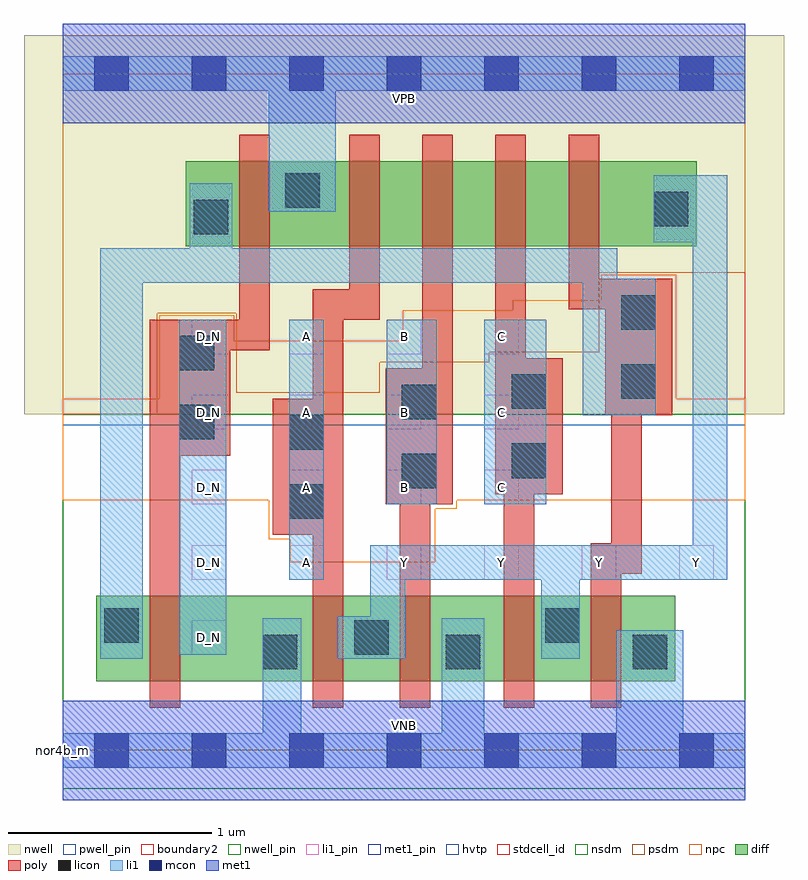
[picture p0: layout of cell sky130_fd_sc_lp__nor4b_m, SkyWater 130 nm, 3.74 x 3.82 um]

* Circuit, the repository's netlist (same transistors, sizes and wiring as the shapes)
* Copyright 2020 The SkyWater PDK Authors
*
* Licensed under the Apache License, Version 2.0 (the "License");
* you may not use this file except in compliance with the License.
* You may obtain a copy of the License at
*
*     https://www.apache.org/licenses/LICENSE-2.0
*
* Unless required by applicable law or agreed to in writing, software
* distributed under the License is distributed on an "AS IS" BASIS,
* WITHOUT WARRANTIES OR CONDITIONS OF ANY KIND, either express or implied.
* See the License for the specific language governing permissions and
* limitations under the License.
*
* SPDX-License-Identifier: Apache-2.0

.SUBCKT sky130_fd_sc_lp__nor4b_m A B C D_N VGND VNB VPB VPWR Y
*.PININFO A:I B:I C:I D_N:I VGND:I VNB:I VPB:I VPWR:I Y:O
MMP0 VPWR A sndPA VPB sky130_fd_pr__pfet_01v8_hvt m=1 w=0.42U l=0.15U mult=1 sa=0.265
+ sb=0.265 sd=0.28 area=0.063 perim=1.14
MMP1 sndPA B sndPB VPB sky130_fd_pr__pfet_01v8_hvt m=1 w=0.42U l=0.15U mult=1 sa=0.265
+ sb=0.265 sd=0.28 area=0.063 perim=1.14
MMP2 sndPB C sndPC VPB sky130_fd_pr__pfet_01v8_hvt m=1 w=0.42U l=0.15U mult=1 sa=0.265
+ sb=0.265 sd=0.28 area=0.063 perim=1.14
MMP3 sndPC D Y VPB sky130_fd_pr__pfet_01v8_hvt m=1 w=0.42U l=0.15U mult=1 sa=0.265
+ sb=0.265 sd=0.28 area=0.063 perim=1.14
MMIP3 D D_N VPWR VPB sky130_fd_pr__pfet_01v8_hvt m=1 w=0.42U l=0.15U mult=1 sa=0.265
+ sb=0.265 sd=0.28 area=0.063 perim=1.14
MMN0 Y A VGND VNB sky130_fd_pr__nfet_01v8 m=1 w=0.42U l=0.15U mult=1 sa=0.265 sb=0.265
+ sd=0.28 area=0.063 perim=1.14
MMN1 Y B VGND VNB sky130_fd_pr__nfet_01v8 m=1 w=0.42U l=0.15U mult=1 sa=0.265 sb=0.265
+ sd=0.28 area=0.063 perim=1.14
MMN2 Y C VGND VNB sky130_fd_pr__nfet_01v8 m=1 w=0.42U l=0.15U mult=1 sa=0.265 sb=0.265
+ sd=0.28 area=0.063 perim=1.14
MMN3 Y D VGND VNB sky130_fd_pr__nfet_01v8 m=1 w=0.42U l=0.15U mult=1 sa=0.265 sb=0.265
+ sd=0.28 area=0.063 perim=1.14
MMIN3 D D_N VGND VNB sky130_fd_pr__nfet_01v8 m=1 w=0.42U l=0.15U mult=1 sa=0.265
+ sb=0.265 sd=0.28 area=0.063 perim=1.14
.ENDS sky130_fd_sc_lp__nor4b_m

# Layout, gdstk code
import gdstk
lib = gdstk.Library(unit=1e-6, precision=1e-09)
def R(c, l, rs):  # rectangles x0, y0, x1, y1
    for r in rs: c.add(gdstk.rectangle(r[:2], r[2:], *l))
def A(c, l, x, y, w, h, nx, ny, dx, dy):  # array of equal rectangles
    R(c, l, [(x+i*dx, y+j*dy, x+i*dx+w, y+j*dy+h) for i in range(nx) for j in range(ny)])
def P(c, l, *ps):  # polygons
    for p in ps: c.add(gdstk.Polygon(p, *l))
nwell_pin = (64, 16)
nwell = (64, 20)
diff = (65, 20)
poly = (66, 20)
licon = (66, 44)
li1_pin = (67, 16)
li1 = (67, 20)
mcon = (67, 44)
met1_pin = (68, 16)
met1 = (68, 20)
hvtp = (78, 44)
stdcell_id = (81, 4)
nsdm = (93, 44)
psdm = (94, 20)
npc = (95, 20)
pwell_pin = (122, 16)
boundary2 = (236, 0)

sky130_fd_sc_lp__nor4b_m = lib.new_cell('sky130_fd_sc_lp__nor4b_m')
R(sky130_fd_sc_lp__nor4b_m, nwell_pin, [(0,3.085,3.36,3.33)])
R(sky130_fd_sc_lp__nor4b_m, nwell, [(-0.19,1.655,3.55,3.52)])
R(sky130_fd_sc_lp__nor4b_m, diff, [(0.165,0.34,3.015,0.76), (0.605,2.48,3.12,2.9)])
P(sky130_fd_sc_lp__nor4b_m, poly, [(1.02,3.03),(0.87,3.03),(0.87,2.12),(0.43,2.12),(0.43,0.21),(0.58,0.21),(0.58,1.45),(0.825,1.45),(0.825,1.97),(1.02,1.97)],
  [(1.56,3.03),(1.41,3.03),(1.41,2.27),(1.23,2.27),(1.23,1.73),(1.035,1.73),(1.035,1.06),(1.23,1.06),(1.23,0.21),(1.38,0.21),(1.38,2.12),(1.56,2.12)],
  [(1.92,3.03),(1.77,3.03),(1.77,1.88),(1.59,1.88),(1.59,1.21),(1.66,1.21),(1.66,0.21),(1.81,0.21),(1.81,1.21),(1.92,1.21)],
  [(2.46,1.93),(2.28,1.93),(2.28,3.03),(2.13,3.03),(2.13,1.26),(2.17,1.26),(2.17,0.21),(2.32,0.21),(2.32,1.26),(2.46,1.26)],
  [(3,2.32),(2.64,2.32),(2.64,3.03),(2.49,3.03),(2.49,2.17),(2.67,2.17),(2.67,1.65),(2.7,1.65),(2.7,1.02),(2.6,1.02),(2.6,0.21),(2.75,0.21),(2.75,0.87),(2.85,0.87),(2.85,1.65),(3,1.65)])
R(sky130_fd_sc_lp__nor4b_m, licon, [(0.985,0.4,1.155,0.57), (1.885,0.4,2.055,0.57), (2.805,0.4,2.975,0.57), (1.435,0.47,1.605,0.64), (0.205,0.53,0.375,0.7), (2.375,0.53,2.545,0.7), (1.115,1.14,1.285,1.31), (1.67,1.29,1.84,1.46), (2.21,1.34,2.38,1.51), (1.115,1.48,1.285,1.65), (0.575,1.53,0.745,1.7), (1.67,1.63,1.84,1.8), (2.21,1.68,2.38,1.85), (2.75,1.73,2.92,1.9), (0.575,1.87,0.745,2.04), (2.75,2.07,2.92,2.24), (0.645,2.54,0.815,2.71), (2.91,2.58,3.08,2.75), (1.095,2.67,1.265,2.84)])
A(sky130_fd_sc_lp__nor4b_m, li1_pin, 0.635, 0.84, 0.17, 0.17, 6, 1, 0.48, 0)
A(sky130_fd_sc_lp__nor4b_m, li1_pin, 0.635, 1.21, 0.17, 0.17, 4, 3, 0.48, 0.37)
R(sky130_fd_sc_lp__nor4b_m, li1_pin, [(0.635,0.47,0.805,0.64)])
R(sky130_fd_sc_lp__nor4b_m, li1, [(0.575,0.47,0.805,2.12), (1.115,0.84,1.285,2.12), (1.595,1.21,1.84,2.12), (2.075,1.21,2.38,2.12)])
P(sky130_fd_sc_lp__nor4b_m, li1, [(1.015,2.65),(1.015,3.245),(0,3.245),(0,3.415),(3.36,3.415),(3.36,3.245),(1.345,3.245),(1.345,2.65)],
  [(1.865,0.085),(1.865,0.65),(2.075,0.65),(2.075,0.085),(2.725,0.085),(2.725,0.59),(3.055,0.59),(3.055,0.085),(3.36,0.085),(3.36,-0.085),(0,-0.085),(0,0.085),(0.985,0.085),(0.985,0.65),(1.175,0.65),(1.175,0.085)],
  [(2.91,2.5),(2.91,2.83),(3.27,2.83),(3.27,0.84),(2.545,0.84),(2.545,0.45),(2.355,0.45),(2.355,0.84),(1.685,0.84),(1.685,0.45),(1.355,0.45),(1.355,0.66),(1.515,0.66),(1.515,1.01),(3.1,1.01),(3.1,2.5)],
  [(0.185,2.47),(0.625,2.47),(0.625,2.79),(0.835,2.79),(0.835,2.47),(2.73,2.47),(2.73,2.32),(2.92,2.32),(2.92,1.65),(2.56,1.65),(2.56,2.3),(0.395,2.3),(0.395,0.45),(0.185,0.45)])
A(sky130_fd_sc_lp__nor4b_m, mcon, 0.155, -0.085, 0.17, 0.17, 7, 2, 0.48, 3.33)
R(sky130_fd_sc_lp__nor4b_m, met1_pin, [(0,0,3.36,0.245), (0,3.085,3.36,3.33)])
R(sky130_fd_sc_lp__nor4b_m, met1, [(0,-0.245,3.36,0.245), (0,3.085,3.36,3.575)])
R(sky130_fd_sc_lp__nor4b_m, hvtp, [(0,1.6,3.36,3.33)])
R(sky130_fd_sc_lp__nor4b_m, stdcell_id, [(0,0,3.36,3.33)])
R(sky130_fd_sc_lp__nor4b_m, nsdm, [(0,-0.19,3.36,1.655)])
P(sky130_fd_sc_lp__nor4b_m, psdm, [(3.36,3.52),(0,3.52),(0,1.655),(0.465,1.655),(0.465,2.15),(0.855,2.15),(0.855,1.76),(1.56,1.76),(1.56,1.91),(2.1,1.91),(2.1,1.96),(2.64,1.96),(2.64,2.35),(3.36,2.35)])
P(sky130_fd_sc_lp__nor4b_m, npc, [(3.36,1.73),(3.02,1.73),(3.02,2.34),(2.65,2.34),(2.65,2.215),(2.215,2.215),(2.215,2.165),(1.675,2.165),(1.675,2.015),(0.845,2.015),(0.845,2.14),(0.475,2.14),(0.475,1.73),(0,1.73),(0,1.23),(1.015,1.23),(1.015,1.04),(1.12,1.04),(1.12,0.925),(1.835,0.925),(1.835,1.19),(1.94,1.19),(1.94,1.23),(3.36,1.23)])
R(sky130_fd_sc_lp__nor4b_m, pwell_pin, [(0,0,3.36,0.245)])
R(sky130_fd_sc_lp__nor4b_m, boundary2, [(0,0,3.36,3.33)])
sky130_fd_sc_lp__nor4b_m.add(gdstk.Label('VNB', (1.68,0.123), layer=64, texttype=59))
sky130_fd_sc_lp__nor4b_m.add(gdstk.Label('VPB', (1.68,3.208), layer=64, texttype=5))
sky130_fd_sc_lp__nor4b_m.add(gdstk.Label('nor4b_m', (0,0), layer=83, texttype=44))
sky130_fd_sc_lp__nor4b_m.add(gdstk.Label('VPWR', (1.68,3.208), layer=68, texttype=5))
sky130_fd_sc_lp__nor4b_m.add(gdstk.Label('VGND', (1.68,0.123), layer=68, texttype=5))
sky130_fd_sc_lp__nor4b_m.add(gdstk.Label('A', (1.2,0.925), layer=67, texttype=5))
sky130_fd_sc_lp__nor4b_m.add(gdstk.Label('A', (1.2,1.295), layer=67, texttype=5))
sky130_fd_sc_lp__nor4b_m.add(gdstk.Label('A', (1.2,1.665), layer=67, texttype=5))
sky130_fd_sc_lp__nor4b_m.add(gdstk.Label('A', (1.2,2.035), layer=67, texttype=5))
sky130_fd_sc_lp__nor4b_m.add(gdstk.Label('B', (1.68,1.295), layer=67, texttype=5))
sky130_fd_sc_lp__nor4b_m.add(gdstk.Label('B', (1.68,1.665), layer=67, texttype=5))
sky130_fd_sc_lp__nor4b_m.add(gdstk.Label('B', (1.68,2.035), layer=67, texttype=5))
sky130_fd_sc_lp__nor4b_m.add(gdstk.Label('C', (2.16,1.295), layer=67, texttype=5))
sky130_fd_sc_lp__nor4b_m.add(gdstk.Label('C', (2.16,1.665), layer=67, texttype=5))
sky130_fd_sc_lp__nor4b_m.add(gdstk.Label('C', (2.16,2.035), layer=67, texttype=5))
sky130_fd_sc_lp__nor4b_m.add(gdstk.Label('D_N', (0.72,0.555), layer=67, texttype=5))
sky130_fd_sc_lp__nor4b_m.add(gdstk.Label('D_N', (0.72,0.925), layer=67, texttype=5))
sky130_fd_sc_lp__nor4b_m.add(gdstk.Label('D_N', (0.72,1.295), layer=67, texttype=5))
sky130_fd_sc_lp__nor4b_m.add(gdstk.Label('D_N', (0.72,1.665), layer=67, texttype=5))
sky130_fd_sc_lp__nor4b_m.add(gdstk.Label('D_N', (0.72,2.035), layer=67, texttype=5))
sky130_fd_sc_lp__nor4b_m.add(gdstk.Label('Y', (1.68,0.925), layer=67, texttype=5))
sky130_fd_sc_lp__nor4b_m.add(gdstk.Label('Y', (2.16,0.925), layer=67, texttype=5))
sky130_fd_sc_lp__nor4b_m.add(gdstk.Label('Y', (2.64,0.925), layer=67, texttype=5))
sky130_fd_sc_lp__nor4b_m.add(gdstk.Label('Y', (3.12,0.925), layer=67, texttype=5))

lib.write_gds('sky130_fd_sc_lp__nor4b_m.gds')
